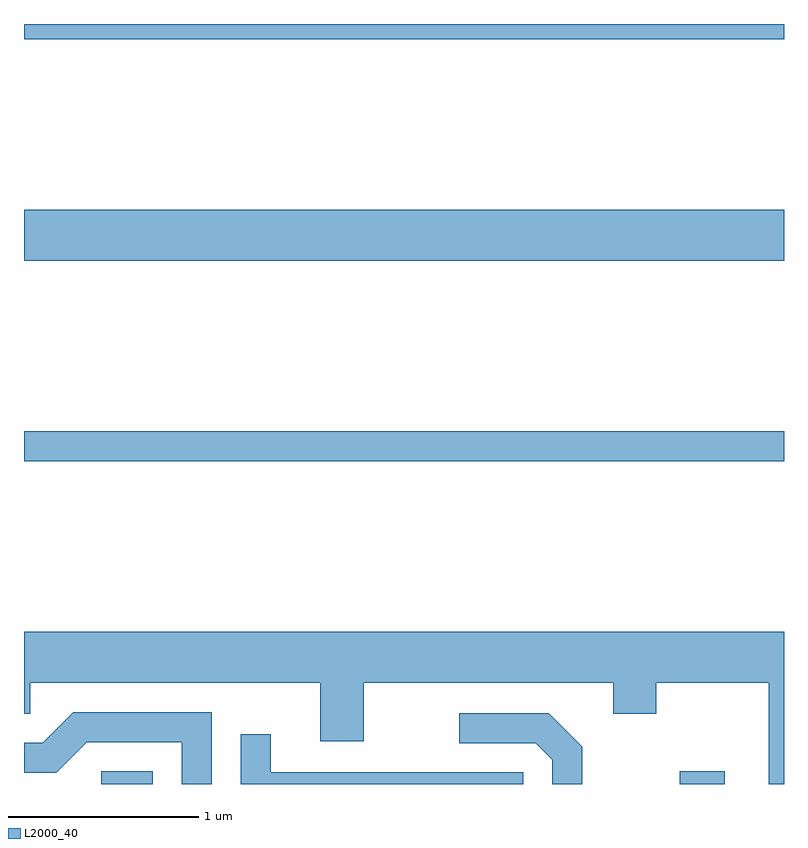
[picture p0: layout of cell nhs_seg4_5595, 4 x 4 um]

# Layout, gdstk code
import gdstk
lib = gdstk.Library(unit=1e-6, precision=1e-09)
def R(c, l, rs):  # rectangles x0, y0, x1, y1
    for r in rs: c.add(gdstk.rectangle(r[:2], r[2:], *l))
def P(c, l, *ps):  # polygons
    for p in ps: c.add(gdstk.Polygon(p, *l))
L2000_40 = (2000, 40)

nhs_seg4_5595 = lib.new_cell('nhs_seg4_5595')
R(nhs_seg4_5595, L2000_40, [(350.018,1291.982,350.289,1292.049), (353.063,1291.982,353.299,1292.049), (349.611,1293.681,353.611,1293.839), (349.611,1294.736,353.611,1295.004), (349.611,1295.901,353.611,1295.982)])
P(nhs_seg4_5595, L2000_40, [(353.611,1292.784),(349.611,1292.784),(349.611,1292.351),(349.644,1292.351),(349.644,1292.516),(351.171,1292.516),(351.171,1292.206),(351.399,1292.206),(351.399,1292.516),(352.711,1292.516),(352.711,1292.351),(352.939,1292.351),(352.939,1292.516),(353.531,1292.516),(353.531,1291.982),(353.611,1291.982)],
  [(350.599,1292.359),(349.869,1292.359),(349.709,1292.199),(349.611,1292.199),(349.611,1292.041),(349.782,1292.041),(349.942,1292.201),(350.441,1292.201),(350.441,1291.982),(350.599,1291.982)],
  [(352.549,1292.177),(352.372,1292.354),(351.903,1292.354),(351.903,1292.196),(352.304,1292.196),(352.391,1292.109),(352.391,1291.982),(352.549,1291.982)],
  [(352.239,1292.044),(350.909,1292.044),(350.909,1292.243),(350.751,1292.243),(350.751,1291.982),(352.239,1291.982)])

lib.write_gds('nhs_seg4_5595.gds')
